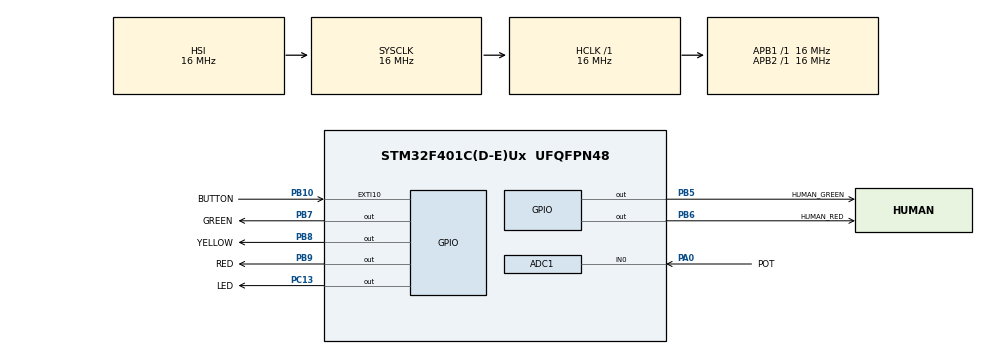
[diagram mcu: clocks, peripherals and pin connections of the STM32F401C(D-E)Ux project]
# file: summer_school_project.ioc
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ADC1.Channel-0\#ChannelRegularConversion=ADC_CHANNEL_0
ADC1.ContinuousConvMode=ENABLE
ADC1.NbrOfConversionFlag=1
ADC1.Rank-0\#ChannelRegularConversion=1
ADC1.SamplingTime-0\#ChannelRegularConversion=ADC_SAMPLETIME_3CYCLES
ADC1.master=1
Mcu.Family=STM32F4
Mcu.Name=STM32F401C(D-E)Ux
Mcu.Package=UFQFPN48
NVIC.EXTI15_10_IRQn=true\:0\:0\:false\:false\:true\:true\:true\:true
NVIC.PriorityGroup=NVIC_PRIORITYGROUP_4
PA0-WKUP.GPIO_Label=POT
PA0-WKUP.Signal=ADCx_IN0
PA13.Mode=Serial_Wire
PA13.Signal=SYS_JTMS-SWDIO
PA14.Mode=Serial_Wire
PA14.Signal=SYS_JTCK-SWCLK
PB10.GPIO_Label=BUTTON
PB10.Signal=GPXTI10
PB5.GPIO_Label=HUMAN_GREEN
PB5.PinState=GPIO_PIN_SET
PB5.Signal=GPIO_Output
PB6.GPIO_Label=HUMAN_RED
PB6.PinState=GPIO_PIN_SET
PB6.Signal=GPIO_Output
PB7.GPIO_Label=GREEN
PB7.PinState=GPIO_PIN_SET
PB7.Signal=GPIO_Output
PB8.GPIO_Label=YELLOW
PB8.PinState=GPIO_PIN_SET
PB8.Signal=GPIO_Output
PB9.GPIO_Label=RED
PB9.PinState=GPIO_PIN_SET
PB9.Signal=GPIO_Output
PC13-ANTI_TAMP.GPIO_Label=LED
PC13-ANTI_TAMP.PinState=GPIO_PIN_SET
PC13-ANTI_TAMP.Signal=GPIO_Output
ProjectManager.HeapSize=0x200
ProjectManager.StackSize=0x400
ProjectManager.TargetToolchain=STM32CubeIDE
RCC.AHBFreq_Value=16000000
RCC.APB1Freq_Value=16000000
RCC.APB2Freq_Value=16000000
RCC.CortexFreq_Value=16000000
RCC.HSE_VALUE=25000000
RCC.HSI_VALUE=16000000
RCC.LSE_VALUE=32768
RCC.SYSCLKFreq_VALUE=16000000
RCC.VCOOutputFreq_Value=192000000
SH.ADCx_IN0.0=ADC1_IN0,IN0
board=custom

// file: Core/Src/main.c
/* USER CODE BEGIN Header */
/**
  ******************************************************************************
  * @file           : main.c
  * @brief          : Main program body
  ******************************************************************************
  * @attention
  *
  * Copyright (c) 2022 STMicroelectronics.
  * All rights reserved.
  *
  * This software is licensed under terms that can be found in the LICENSE file
  * in the root directory of this software component.
  * If no LICENSE file comes with this software, it is provided AS-IS.
  *
  ******************************************************************************
  */
/* USER CODE END Header */
#include "main.h"

ADC_HandleTypeDef hadc1;

void SystemClock_Config(void);
static void MX_GPIO_Init(void);
static void MX_ADC1_Init(void);

/* USER CODE BEGIN 0 */

enum Green_state
{
	CARS, HUMANS
};
enum Green_state state = CARS;

void flashing(GPIO_TypeDef* GPIOx, uint16_t GPIO_Pin)
{
	for (int i = 0; i < 3; ++i) {
		HAL_Delay(500);
		HAL_GPIO_WritePin(GPIOx, GPIO_Pin, GPIO_PIN_SET);
		HAL_Delay(500);
		HAL_GPIO_WritePin(GPIOx, GPIO_Pin, GPIO_PIN_RESET);
	}
}

/* USER CODE END 0 */

int main(void)
{

  /* MCU Configuration--------------------------------------------------------*/

  /* Reset of all peripherals, Initializes the Flash interface and the Systick. */
  HAL_Init();

  /* Configure the system clock */
  SystemClock_Config();

  /* Initialize all configured peripherals */
  MX_GPIO_Init();
  MX_ADC1_Init();

  /* Infinite loop */
  /* USER CODE BEGIN WHILE */
  while (1)
  {
	  switch (state)
	  {
	  	  case CARS:
		  {
			  HAL_GPIO_WritePin(RED_GPIO_Port, RED_Pin, GPIO_PIN_RESET);
			  HAL_GPIO_WritePin(YELLOW_GPIO_Port, YELLOW_Pin, GPIO_PIN_RESET);
			  HAL_GPIO_WritePin(GREEN_GPIO_Port, GREEN_Pin, GPIO_PIN_SET);

			  HAL_GPIO_WritePin(HUMAN_RED_GPIO_Port, HUMAN_RED_Pin, GPIO_PIN_SET);
			  HAL_GPIO_WritePin(HUMAN_GREEN_GPIO_Port, HUMAN_GREEN_Pin, GPIO_PIN_RESET);

			  break;
		  }
		  case HUMANS:
		  {
			  HAL_Delay(2000);
			  HAL_GPIO_WritePin(GREEN_GPIO_Port, GREEN_Pin, GPIO_PIN_RESET);

			  flashing(GREEN_GPIO_Port, GREEN_Pin);
			  HAL_GPIO_WritePin(YELLOW_GPIO_Port, YELLOW_Pin, GPIO_PIN_SET);
			  HAL_Delay(2000);
			  HAL_GPIO_WritePin(YELLOW_GPIO_Port, YELLOW_Pin, GPIO_PIN_RESET);

			  HAL_GPIO_WritePin(RED_GPIO_Port, RED_Pin, GPIO_PIN_SET);
			  HAL_Delay(2000);

			  HAL_GPIO_WritePin(HUMAN_RED_GPIO_Port, HUMAN_RED_Pin, GPIO_PIN_RESET);
			  HAL_GPIO_WritePin(HUMAN_GREEN_GPIO_Port, HUMAN_GREEN_Pin, GPIO_PIN_SET);
			  HAL_Delay(4000);

			  flashing(HUMAN_GREEN_GPIO_Port, HUMAN_GREEN_Pin);
			  HAL_GPIO_WritePin(HUMAN_GREEN_GPIO_Port, HUMAN_GREEN_Pin, GPIO_PIN_RESET);
			  HAL_GPIO_WritePin(HUMAN_RED_GPIO_Port, HUMAN_RED_Pin, GPIO_PIN_SET);
			  HAL_Delay(1000);

			  HAL_GPIO_WritePin(YELLOW_GPIO_Port, YELLOW_Pin, GPIO_PIN_SET);
			  HAL_Delay(2000);

			  state = CARS;
			  break;
		  }
		  default:
			  break;
	  }

    /* USER CODE END WHILE */

  }
}

void SystemClock_Config(void)
{
  RCC_OscInitTypeDef RCC_OscInitStruct = {0};
  RCC_ClkInitTypeDef RCC_ClkInitStruct = {0};

  /** Configure the main internal regulator output voltage
  */
  __HAL_RCC_PWR_CLK_ENABLE();
  __HAL_PWR_VOLTAGESCALING_CONFIG(PWR_REGULATOR_VOLTAGE_SCALE2);

  /** Initializes the RCC Oscillators according to the specified parameters
  * in the RCC_OscInitTypeDef structure.
  */
  RCC_OscInitStruct.OscillatorType = RCC_OSCILLATORTYPE_HSI;
  RCC_OscInitStruct.HSIState = RCC_HSI_ON;
  RCC_OscInitStruct.HSICalibrationValue = RCC_HSICALIBRATION_DEFAULT;
  RCC_OscInitStruct.PLL.PLLState = RCC_PLL_NONE;
  if (HAL_RCC_OscConfig(&RCC_OscInitStruct) != HAL_OK)
  {
    Error_Handler();
  }

  /** Initializes the CPU, AHB and APB buses clocks
  */
  RCC_ClkInitStruct.ClockType = RCC_CLOCKTYPE_HCLK|RCC_CLOCKTYPE_SYSCLK
                              |RCC_CLOCKTYPE_PCLK1|RCC_CLOCKTYPE_PCLK2;
  RCC_ClkInitStruct.SYSCLKSource = RCC_SYSCLKSOURCE_HSI;
  RCC_ClkInitStruct.AHBCLKDivider = RCC_SYSCLK_DIV1;
  RCC_ClkInitStruct.APB1CLKDivider = RCC_HCLK_DIV1;
  RCC_ClkInitStruct.APB2CLKDivider = RCC_HCLK_DIV1;

  if (HAL_RCC_ClockConfig(&RCC_ClkInitStruct, FLASH_LATENCY_0) != HAL_OK)
  {
    Error_Handler();
  }
}

static void MX_ADC1_Init(void)
{

  ADC_ChannelConfTypeDef sConfig = {0};

  /** Configure the global features of the ADC (Clock, Resolution, Data Alignment and number of conversion)
  */
  hadc1.Instance = ADC1;
  hadc1.Init.ClockPrescaler = ADC_CLOCK_SYNC_PCLK_DIV2;
  hadc1.Init.Resolution = ADC_RESOLUTION_12B;
  hadc1.Init.ScanConvMode = DISABLE;
  hadc1.Init.ContinuousConvMode = ENABLE;
  hadc1.Init.DiscontinuousConvMode = DISABLE;
  hadc1.Init.ExternalTrigConvEdge = ADC_EXTERNALTRIGCONVEDGE_NONE;
  hadc1.Init.ExternalTrigConv = ADC_SOFTWARE_START;
  hadc1.Init.DataAlign = ADC_DATAALIGN_RIGHT;
  hadc1.Init.NbrOfConversion = 1;
  hadc1.Init.DMAContinuousRequests = DISABLE;
  hadc1.Init.EOCSelection = ADC_EOC_SINGLE_CONV;
  if (HAL_ADC_Init(&hadc1) != HAL_OK)
  {
    Error_Handler();
  }

  /** Configure for the selected ADC regular channel its corresponding rank in the sequencer and its sample time.
  */
  sConfig.Channel = ADC_CHANNEL_0;
  sConfig.Rank = 1;
  sConfig.SamplingTime = ADC_SAMPLETIME_3CYCLES;
  if (HAL_ADC_ConfigChannel(&hadc1, &sConfig) != HAL_OK)
  {
    Error_Handler();
  }

}

static void MX_GPIO_Init(void)
{
  GPIO_InitTypeDef GPIO_InitStruct = {0};

  /* GPIO Ports Clock Enable */
  __HAL_RCC_GPIOC_CLK_ENABLE();
  __HAL_RCC_GPIOA_CLK_ENABLE();
  __HAL_RCC_GPIOB_CLK_ENABLE();

  /*Configure GPIO pin Output Level */
  HAL_GPIO_WritePin(LED_GPIO_Port, LED_Pin, GPIO_PIN_SET);

  /*Configure GPIO pin Output Level */
  HAL_GPIO_WritePin(GPIOB, HUMAN_GREEN_Pin|HUMAN_RED_Pin|GREEN_Pin|YELLOW_Pin
                          |RED_Pin, GPIO_PIN_SET);

  /*Configure GPIO pin : LED_Pin */
  GPIO_InitStruct.Pin = LED_Pin;
  GPIO_InitStruct.Mode = GPIO_MODE_OUTPUT_PP;
  GPIO_InitStruct.Pull = GPIO_NOPULL;
  GPIO_InitStruct.Speed = GPIO_SPEED_FREQ_LOW;
  HAL_GPIO_Init(LED_GPIO_Port, &GPIO_InitStruct);

  /*Configure GPIO pin : BUTTON_Pin */
  GPIO_InitStruct.Pin = BUTTON_Pin;
  GPIO_InitStruct.Mode = GPIO_MODE_IT_RISING;
  GPIO_InitStruct.Pull = GPIO_NOPULL;
  HAL_GPIO_Init(BUTTON_GPIO_Port, &GPIO_InitStruct);

  /*Configure GPIO pins : HUMAN_GREEN_Pin HUMAN_RED_Pin GREEN_Pin YELLOW_Pin
                           RED_Pin */
  GPIO_InitStruct.Pin = HUMAN_GREEN_Pin|HUMAN_RED_Pin|GREEN_Pin|YELLOW_Pin
                          |RED_Pin;
  GPIO_InitStruct.Mode = GPIO_MODE_OUTPUT_PP;
  GPIO_InitStruct.Pull = GPIO_NOPULL;
  GPIO_InitStruct.Speed = GPIO_SPEED_FREQ_LOW;
  HAL_GPIO_Init(GPIOB, &GPIO_InitStruct);

  /* EXTI interrupt init*/
  HAL_NVIC_SetPriority(EXTI15_10_IRQn, 0, 0);
  HAL_NVIC_EnableIRQ(EXTI15_10_IRQn);

}

/* USER CODE BEGIN 4 */

void HAL_GPIO_EXTI_Callback(uint16_t GPIO_Pin)
{
	state = HUMANS;
}

/* USER CODE END 4 */

void Error_Handler(void)
{
  __disable_irq();
  while (1)
  {
  }
}
